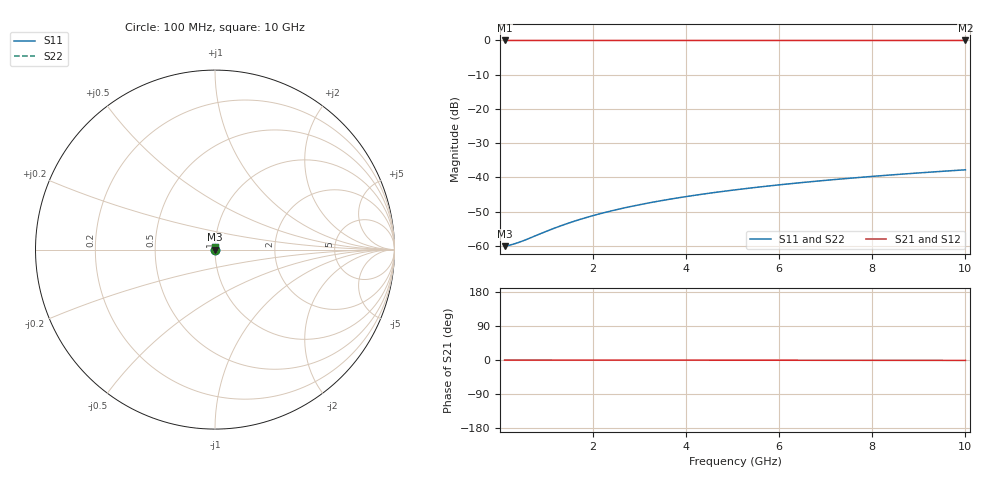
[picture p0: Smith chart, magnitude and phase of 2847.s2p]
# Hz S RI R 50.00
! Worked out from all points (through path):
!   100 points, 100 MHz to 10 GHz, reference 50 ohm
!   highest |S21| = -0.01 dB at 100 MHz (marker M1); lowest = 0.0 dB at 10 GHz (marker M2)
!   lowest |S11| = -60.1 dB at 100 MHz (marker M3), VSWR 1.00, Z = 50.1 + j0.0129 ohm
!   |S11| at or under -10 dB: start of sweep to end of sweep
!   |S22| runs from -60.1 to -37.8 dB; largest |S21 - S12| = 1e-15
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1e8  0.000983 0.000128  0.999 -0.000182  0.999 -0.000182  0.000983 0.000128
2e8  0.000989 0.000257  0.999 -0.000365  0.999 -0.000365  0.000989 0.000257
3e8  0.000994 0.000385  0.999 -0.000547  0.999 -0.000547  0.000994 0.000385
4e8  0.000998 0.000513  0.999 -0.000729  0.999 -0.000729  0.000998 0.000513
6e8  0.001 0.00077  0.999 -0.00109  0.999 -0.00109  0.001 0.00077
1e9  0.00102 0.00128  0.999 -0.00182  0.999 -0.00182  0.00102 0.00128
1.2e9  0.00102 0.00154  0.999 -0.00219  0.999 -0.00219  0.00102 0.00154
1.5e9  0.00103 0.00192  0.999 -0.00273  0.999 -0.00273  0.00103 0.00192
1.8e9  0.00103 0.00231  0.999 -0.00328  0.999 -0.00328  0.00103 0.00231
2.1e9  0.00104 0.00269  0.999 -0.00383  0.999 -0.00383  0.00104 0.00269
2.5e9  0.00105 0.00321  0.9989 -0.00456  0.9989 -0.00456  0.00105 0.00321
2.9e9  0.00106 0.00372  0.9989 -0.00529  0.9989 -0.00529  0.00106 0.00372
3.4e9  0.00107 0.00436  0.9989 -0.0062  0.9989 -0.0062  0.00107 0.00436
3.8e9  0.00108 0.00488  0.9989 -0.00693  0.9989 -0.00693  0.00108 0.00488
4.2e9  0.00109 0.00539  0.9989 -0.00766  0.9989 -0.00766  0.00109 0.00539
4.6e9  0.0011 0.0059  0.9989 -0.00839  0.9989 -0.00839  0.0011 0.0059
5.1e9  0.00112 0.00655  0.9989 -0.0093  0.9989 -0.0093  0.00112 0.00655
5.9e9  0.00114 0.00757  0.9988 -0.0108  0.9988 -0.0108  0.00114 0.00757
6.7e9  0.00117 0.0086  0.9988 -0.0122  0.9988 -0.0122  0.00117 0.0086
7.5e9  0.00121 0.00963  0.9988 -0.0137  0.9988 -0.0137  0.00121 0.00963
8.4e9  0.00124 0.0108  0.9987 -0.0153  0.9987 -0.0153  0.00124 0.0108
1e10  0.00132 0.0128  0.9987 -0.0182  0.9987 -0.0182  0.00132 0.0128
